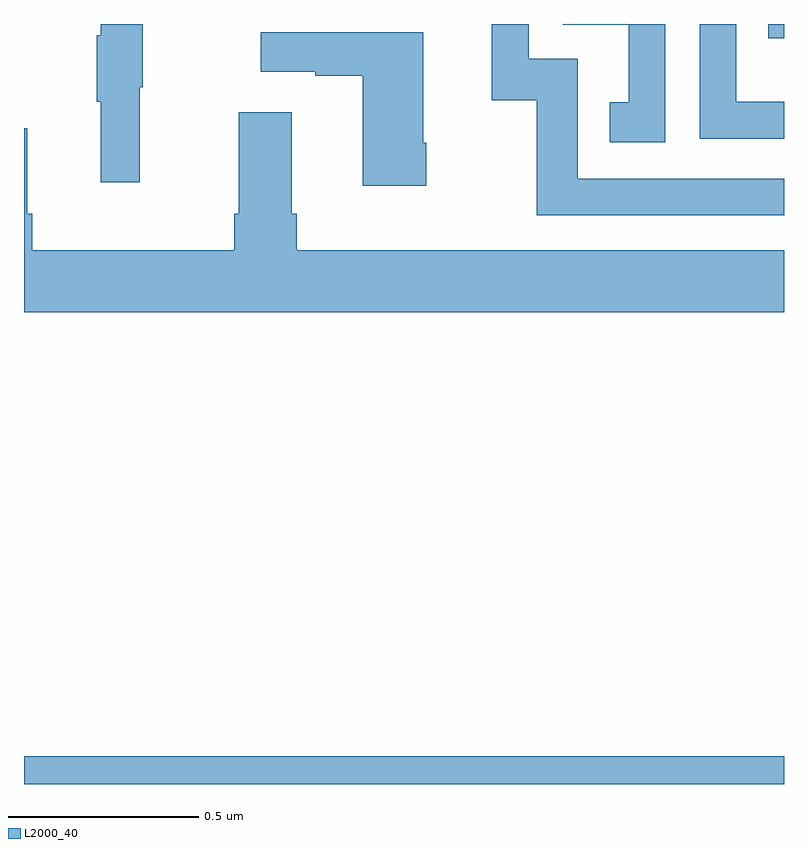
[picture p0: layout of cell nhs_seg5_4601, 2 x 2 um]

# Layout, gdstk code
import gdstk
lib = gdstk.Library(unit=1e-6, precision=1e-09)
def R(c, l, rs):  # rectangles x0, y0, x1, y1
    for r in rs: c.add(gdstk.rectangle(r[:2], r[2:], *l))
def P(c, l, *ps):  # polygons
    for p in ps: c.add(gdstk.Polygon(p, *l))
L2000_40 = (2000, 40)

nhs_seg5_4601 = lib.new_cell('nhs_seg5_4601')
R(nhs_seg5_4601, L2000_40, [(172,908.799,174,908.872), (173.959,910.761,174,910.799)])
P(nhs_seg5_4601, L2000_40, [(174,910.392),(173.457,910.392),(173.457,910.707),(173.328,910.707),(173.328,910.799),(173.231,910.799),(173.231,910.599),(173.349,910.599),(173.349,910.296),(174,910.296)],
  [(172.304,910.632),(172.312,910.632),(172.312,910.799),(172.202,910.799),(172.202,910.769),(172.191,910.769),(172.191,910.595),(172.202,910.595),(172.202,910.383),(172.304,910.383)],
  [(173.688,910.799),(173.418,910.799),(173.418,910.797),(173.591,910.797),(173.591,910.593),(173.542,910.593),(173.542,910.488),(173.688,910.488)],
  [(174,910.594),(173.874,910.594),(173.874,910.799),(173.778,910.799),(173.778,910.497),(174,910.497)],
  [(173.058,910.486),(173.05,910.486),(173.05,910.777),(172.623,910.777),(172.623,910.673),(172.766,910.673),(172.766,910.663),(172.892,910.663),(172.892,910.374),(173.058,910.374)],
  [(174,910.204),(172.718,910.204),(172.718,910.3),(172.705,910.3),(172.705,910.567),(172.565,910.567),(172.565,910.3),(172.553,910.3),(172.553,910.204),(172.022,910.204),(172.022,910.3),(172.009,910.3),(172.009,910.525),(172,910.525),(172,910.04),(174,910.04)])

lib.write_gds('nhs_seg5_4601.gds')
